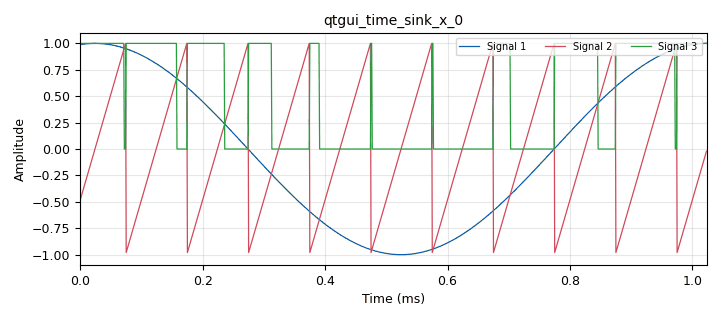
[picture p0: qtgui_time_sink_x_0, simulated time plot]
options:
  parameters:
    author: Peña_Hernandez
    category: '[Grupo_J1A_02]'
    copyright: Peña_Hernandez
    generate_options: qt_gui
    id: ModuladorPWM
    output_language: python
    title: ModuladorPWM
  states: {}

blocks:
- name: A
  id: variable_qtgui_range
  parameters:
    label: Amplitud
    orient: Qt.Horizontal
    start: '0'
    step: '0.01'
    stop: '4'
    value: '1'
  states: {}
- name: 'off'
  id: variable_qtgui_range
  parameters:
    label: Offset
    orient: Qt.Horizontal
    start: '-2'
    step: '0.01'
    stop: '2'
    value: '0'
  states: {}
- name: samp_rate
  id: variable
  parameters:
    value: '1000000'
  states: {}
- name: analog_sig_source_x_0
  id: analog_sig_source_x
  parameters:
    amp: A
    freq: '1000'
    offset: 'off'
    phase: '0'
    samp_rate: samp_rate
    type: float
    waveform: analog.GR_COS_WAVE
  states: {}
- name: analog_sig_source_x_0_0
  id: analog_sig_source_x
  parameters:
    amp: 2*A
    freq: '10000'
    offset: '-A+off'
    phase: '0'
    samp_rate: samp_rate
    type: float
    waveform: analog.GR_SAW_WAVE
  states: {}
- name: blocks_throttle_0
  id: blocks_throttle
  parameters:
    samples_per_second: samp_rate
    type: float
  states: {}
- name: epy_block_0
  id: epy_block
  parameters:
    _source_code: |
      """
      Embedded Python Blocks:

      Each time this file is saved, GRC will instantiate the first class it finds
      to get ports and parameters of your block. The arguments to __init__  will
      be the parameters. All of them are required to have default values!
      """

      import numpy
      from gnuradio import gr

      class Compara(gr.sync_block):
          """
          docstring for block Compara
          """
          def __init__(self):
              gr.sync_block.__init__(self,
                  name="Compara",
                  in_sig=[numpy.float32, numpy.float32],
                  out_sig=[numpy.float32, ])


          def work(self, input_items, output_items):
              in0 = input_items[0]
              in1 = input_items[1]
              out = output_items[0]
              # <+signal processing here+>
              for i in range(len(in0)):
                      if in0[i] > in1[i]:
                              out[i] = 1
                      else:
                              out[i] = 0
              return len(output_items[0])
  states: {}
- name: qtgui_time_sink_x_0
  id: qtgui_time_sink_x
  parameters:
    autoscale: 'True'
    nconnections: '3'
    size: '1024'
    srate: samp_rate
    type: float
  states: {}

connections:
- [analog_sig_source_x_0, '0', epy_block_0, '0']
- [analog_sig_source_x_0, '0', qtgui_time_sink_x_0, '0']
- [analog_sig_source_x_0_0, '0', blocks_throttle_0, '0']
- [blocks_throttle_0, '0', epy_block_0, '1']
- [blocks_throttle_0, '0', qtgui_time_sink_x_0, '1']
- [epy_block_0, '0', qtgui_time_sink_x_0, '2']

metadata:
  file_format: 1
